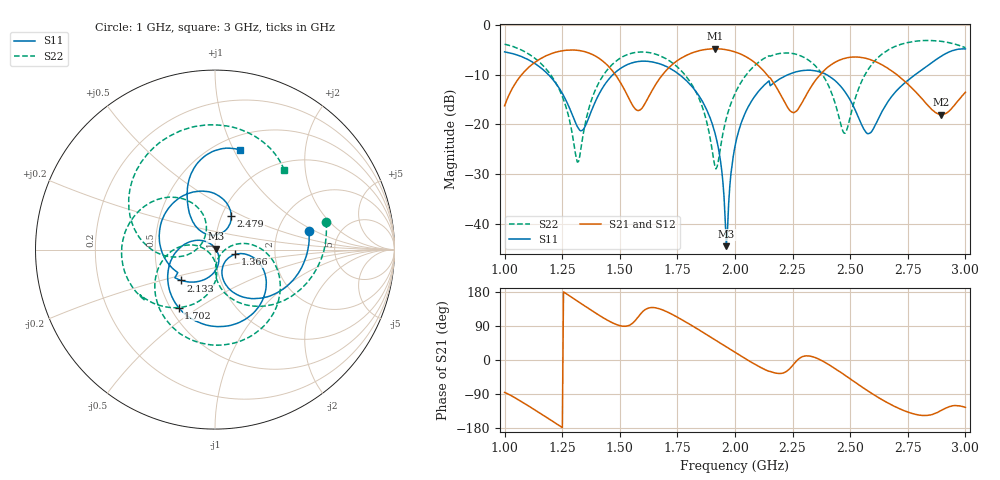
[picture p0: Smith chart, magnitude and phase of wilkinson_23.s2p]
#  HZ  S  DB  R  50.00
! Rohde & Schwarz Vector Network Analyzer
! Rohde-Schwarz,ZND-2Port,1328517092100682,2.70
! Created: UTC 11/29/2017, 5:40:35 PM
! freq[Hz]  db:S11  ang:S11  db:S21  ang:S21  db:S12  ang:S12  db:S22  ang:S22
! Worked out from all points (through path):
!   400 points, 1 GHz to 3 GHz, reference 50 ohm
!   highest |S21| = -4.82 dB at 1.912 GHz (marker M1); lowest = -18.1 dB at 2.895 GHz (marker M2)
!   lowest |S11| = -44.5 dB at 1.962 GHz (marker M3), VSWR 1.01, Z = 50.4 + j0.447 ohm
!   |S11| at or under -10 dB: 1.19 GHz to 1.471 GHz (281.1 MHz wide, 21.1 % of centre); 1.758 GHz to 2.232 GHz (473.8 MHz wide, 23.8 % of centre); 2.397 GHz to 2.783 GHz (386.4 MHz wide, 14.9 % of centre)
!   |S22| runs from -29.0 to -3.1 dB; largest |S21 - S12| = 0.0011
!   S11 on the Smith chart (normalised r, x): 1 GHz: 3.02, +0.86; 1.366 GHz: 1.26, -0.07; 1.702 GHz: 0.55, -0.42; 2.133 GHz: 0.65, -0.24; 2.479 GHz: 1.11, +0.44; 3 GHz: 0.64, +1.06
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1e9  -5.44 11.0  -16.29 -85.6  -16.29 -85.4  -3.90 13.8
1.150376e9  -8.41 -44.9  -6.96 -139.1  -6.96 -139.2  -7.46 -47.8
1.255639e9  -14.23 -73.7  -5.18 179.7  -5.19 179.7  -15.04 -85.7
1.315789e9  -20.48 -59.1  -5.13 155.6  -5.13 155.6  -27.62 -44.2
1.33584e9  -21.26 -37.4  -5.28 147.5  -5.28 147.5  -23.54 6.1
1.365915e9  -18.63 -13.0  -5.68 135.4  -5.68 135.4  -16.79 13.4
1.576441e9  -7.42 -69.3  -17.22 111.0  -17.23 111.1  -5.51 -76.1
1.666667e9  -7.76 -107.2  -11.22 136.1  -11.21 136.0  -6.09 -117.2
1.701754e9  -8.38 -122.1  -9.16 128.0  -9.16 128.0  -6.85 -132.4
1.837093e9  -13.84 179.2  -5.29 81.9  -5.30 81.9  -14.11 175.5
1.912281e9  -21.64 143.5  -4.82 53.6  -4.82 53.6  -28.35 -157.7
1.942356e9  -29.26 124.6  -4.89 42.2  -4.89 42.2  -23.19 -89.7
1.962406e9  -44.53 48.4  -5.02 34.6  -5.02 34.6  -18.80 -85.1
2.002506e9  -23.88 -70.3  -5.50 19.3  -5.50 19.3  -13.58 -93.5
2.132832e9  -11.88 -137.6  -9.71 -26.1  -9.71 -26.1  -6.60 -142.8
2.24812e9  -9.72 160.8  -17.58 -15.8  -17.61 -15.8  -5.76 173.7
2.333333e9  -9.16 119.6  -12.23 9.2  -12.24 9.2  -7.61 137.1
2.478697e9  -13.56 64.5  -6.72 -40.8  -6.72 -40.8  -21.77 155.9
2.573935e9  -21.87 88.1  -6.81 -80.4  -6.82 -80.4  -9.28 -179.0
2.669173e9  -15.10 129.4  -8.94 -115.2  -8.92 -115.2  -4.94 147.8
2.894737e9  -6.33 102.6  -18.07 -133.2  -18.06 -133.4  -3.32 77.2
3e9  -4.85 75.9  -13.56 -125.2  -13.55 -125.3  -4.60 49.1
